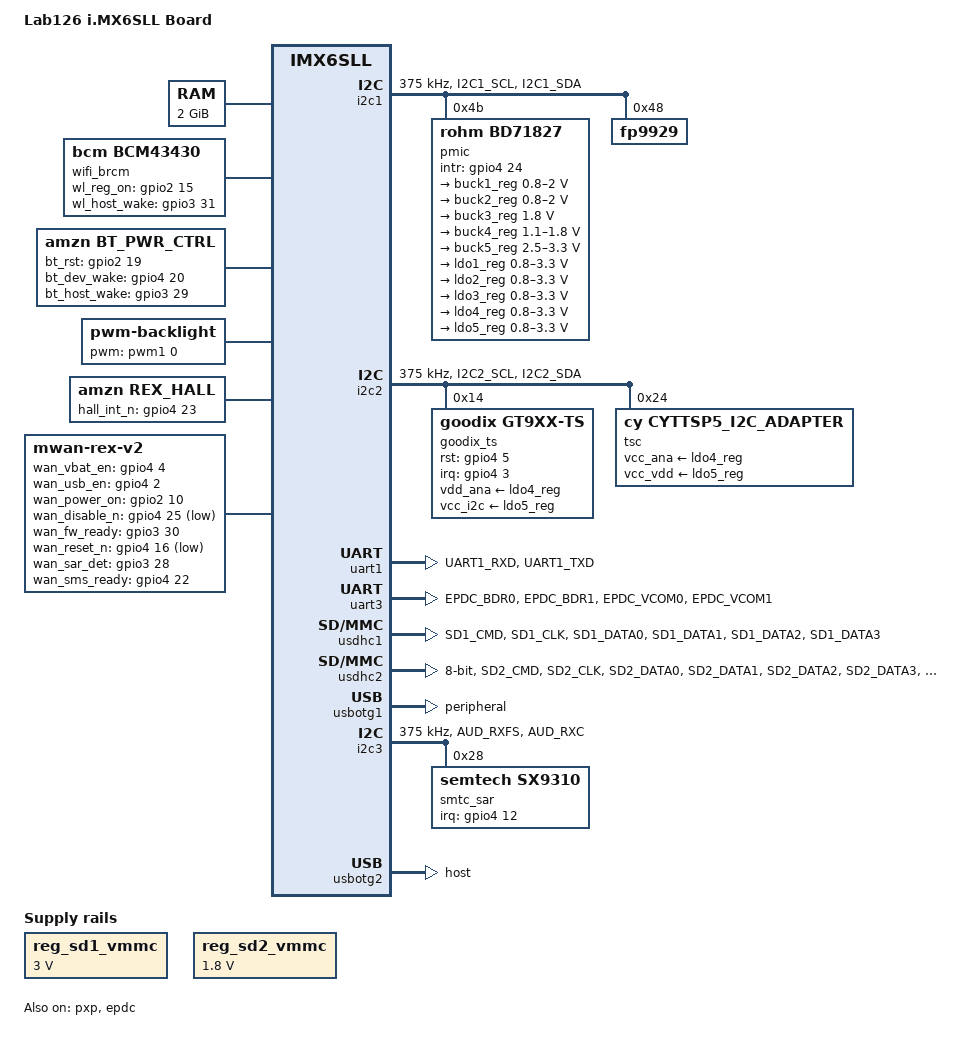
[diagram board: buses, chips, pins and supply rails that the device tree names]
/*
 * Copyright (C) 2016 Freescale Semiconductor, Inc.
 *
 * This program is free software; you can redistribute it and/or modify
 * it under the terms of the GNU General Public License version 2 as
 * published by the Free Software Foundation.
 */

/dts-v1/;

#include <dt-bindings/gpio/gpio.h>
#include <dt-bindings/input/input.h>
#include "imx6sll.dtsi"

/ {
	model = "Lab126 i.MX6SLL Board";
	compatible = "amzn,imx6sll-rex", "fsl,imx6sll";

	memory {
		reg = <0x80000000 0x80000000>;
	};

        wifi_brcm {
                compatible = "bcm,bcm43430";
                wl_reg_on = <&gpio2 15 0>; /* Power on/off GPIO */
                wl_host_wake = <&gpio3 31 0>; /* Host wake for OOB */
        };

        bt_pwr_ctrl {
                compatible = "amzn,bt_pwr_ctrl";
                bt_rst = <&gpio2 19 0>; /* Power on/off GPIO */
                bt_dev_wake = <&gpio4 20 0>; /*BT wake for OOB */
                bt_host_wake = <&gpio3 29 0>; /* Host wake for OOB */
        };

	backlight {
		compatible = "pwm-backlight";
		pwms = <&pwm1 0 5000000>;
		brightness-levels = <0 4 8 16 32 64 128 255>;
		default-brightness-level = <6>;
		status = "okay";
	};

	pxp_v4l2_out {
		compatible = "fsl,imx6sl-pxp-v4l2";
		status = "okay";
	};

	rex_hall {
		compatible = "amzn,rex_hall";
		hall_int_n= <&gpio4 23 0>; /* Use GPIO4-23 as hall input */
		status = "okay";
	};

	regulators {
		compatible = "simple-bus";
		#address-cells = <1>;
		#size-cells = <0>;

		reg_sd1_vmmc: sd1_vmmc {
			compatible = "regulator-fixed";
			regulator-name = "SD1_SPWR";
			regulator-min-microvolt = <3000000>;
			regulator-max-microvolt = <3000000>;
/*Fixme
			gpio = <&gpio3 30 GPIO_ACTIVE_HIGH>;
			enable-active-high;
*/
		};

		reg_sd2_vmmc: sd2_vmmc {
			compatible = "regulator-fixed";
			regulator-name = "eMMC_VCCQ";
			regulator-min-microvolt = <1800000>;
			regulator-max-microvolt = <1800000>;
			regulator-boot-on;
		};
	};

	ramoops_device {
		compatible = "fsl,mxc_ramoops";
		record_size = <524288>; /*512K*/
		console_size= <262144>; /*256K*/
		ftrace_size= <262144>;  /*256K*/
		dump_oops = <1>;
		status = "okay";
	};

	regulator-virtuals {
		compatible = "simple-bus";

		virt-buck1 {
			compatible = "regulator-virtual";
			virtual-supply = "buck1";
		};
		virt-buck2 {
			compatible = "regulator-virtual";
			virtual-supply = "buck2";
		};
		virt-buck3 {
			compatible = "regulator-virtual";
			virtual-supply = "buck3";
		};
		virt-buck4 {
			compatible = "regulator-virtual";
			virtual-supply = "buck4";
		};
		virt-buck5 {
			compatible = "regulator-virtual";
			virtual-supply = "buck5";
		};
		virt-ldo1 {
			compatible = "regulator-virtual";
			virtual-supply = "ldo1";
		};
		virt-ldo2 {
			compatible = "regulator-virtual";
			virtual-supply = "ldo2";
		};
		virt-ldo3 {
			compatible = "regulator-virtual";
			virtual-supply = "ldo3";
		};
		virt-ldo4 {
			compatible = "regulator-virtual";
			virtual-supply = "ldo4";
		};
		virt-ldo5 {
			compatible = "regulator-virtual";
			virtual-supply = "ldo5";
		};
		virt-ldo6 {
			compatible = "regulator-virtual";
			virtual-supply = "ldo6";
		};
		virt-ldosnvs {
			compatible = "regulator-virtual";
			virtual-supply = "ldosnvs";
		};
	};
};


&cpu0 {
	arm-supply = <&buck2_reg>;
	soc-supply = <&buck1_reg>;
};


&i2c1 {
	clock-frequency = <375000>;
	pinctrl-names = "default";
	pinctrl-0 = <&pinctrl_i2c1>;
	status = "okay";

    pmic: bd71827@4b {
        reg = <0x4b>;
        compatible = "rohm,bd71827";
        /* PMIC_INT_B GPIO4_IO24 */
        gpio_intr = <&gpio4 24 0>;

        bd71827,pmic-buck1-uses-i2c-dvs;
        bd71827,pmic-buck1-dvs-voltage = <1100000>, <900000>, <900000>; /* VDD_ARM: Run-Idle-Suspend */
        bd71827,pmic-buck2-uses-i2c-dvs;
        bd71827,pmic-buck2-dvs-voltage = <1100000>, <900000>, <900000>; /* VDD_SOC: Run-Idle-Suspend */

        gpo {
            rohm,drv = <0x0C>;  /* 0b0000_1100 all gpos with cmos output mode */
        };

        regulators {
            #address-cells = <1>;
            #size-cells = <0>;

            buck1_reg: regulator@0 {
                reg = <0>;
                regulator-compatible = "buck1";
                regulator-min-microvolt = <800000>;
                regulator-max-microvolt = <2000000>;
                regulator-boot-on;
                regulator-always-on;
                regulator-ramp-delay = <1250>;
            };

            buck2_reg: regulator@1 {
                reg = <1>;
                regulator-compatible = "buck2";
                regulator-min-microvolt = <800000>;
                regulator-max-microvolt = <2000000>;
                regulator-boot-on;
                regulator-always-on;
                regulator-ramp-delay = <1250>;
            };

            buck3_reg: regulator@2 {
                reg = <2>;
                regulator-compatible = "buck3";
                regulator-min-microvolt = <1800000>;
                regulator-max-microvolt = <1800000>;
                regulator-boot-on;
                regulator-always-on;
            };

            buck4_reg: regulator@3 {
                reg = <3>;
                regulator-compatible = "buck4";
                regulator-min-microvolt = <1100000>;
                regulator-max-microvolt = <1800000>;
                regulator-boot-on;
                regulator-always-on;
            };

            buck5_reg: regulator@4 {
                reg = <4>;
                regulator-compatible = "buck5";
                regulator-min-microvolt = <2500000>;
                regulator-max-microvolt = <3300000>;
                regulator-boot-on;
                regulator-always-on;
            };

            ldo1_reg: regulator@5 {
                reg = <5>;
                regulator-compatible = "ldo1";
                regulator-min-microvolt = <800000>;
                regulator-max-microvolt = <3300000>;
                regulator-boot-on;
                regulator-always-on;
            };

            ldo2_reg: regulator@6 {
                reg = <6>;
                regulator-compatible = "ldo2";
                regulator-min-microvolt = <800000>;
                regulator-max-microvolt = <3300000>;
                regulator-boot-on;
                regulator-always-on;
            };

            ldo3_reg: regulator@7 {
                reg = <7>;
                regulator-compatible = "ldo3";
                regulator-name = "ldo3";
                regulator-min-microvolt = <800000>;
                regulator-max-microvolt = <3300000>;
            };

            ldo4_reg: regulator@8 {
                reg = <8>;
                regulator-compatible = "ldo4";
                regulator-name = "ldo4";
                regulator-min-microvolt = <800000>;
                regulator-max-microvolt = <3300000>;
                regulator-boot-on;
            };

            ldo5_reg: regulator@9 {
                reg = <9>;
                regulator-compatible = "ldo5";
                regulator-name = "ldo5";
                regulator-min-microvolt = <800000>;
                regulator-max-microvolt = <3300000>;
                regulator-boot-on;
            };

            ldo6_reg: regulator@10 {
                reg = <10>;
                regulator-compatible = "ldo6";
                regulator-boot-on;
                regulator-always-on;
            };

            ldosnvs_reg: regulator@11 {
                reg = <11>;
                regulator-compatible = "ldosnvs";
                regulator-boot-on;
                regulator-always-on;
            };
        };
	};

	fp9929@48 {
		compatible = "fp9929";
		reg = <0x48>;
	};
};


&i2c2 {
        clock-frequency = <375000>;
        pinctrl-names = "default";
        pinctrl-0 = <&pinctrl_i2c2>;
        status = "okay";

	goodix_ts@14 {
		compatible = "goodix,gt9xx-ts";
		pinctrl-names = "default", "sleep";
		pinctrl-0 = <&pinctrl_touch_sensor_default>;
		pinctrl-1 = <&pinctrl_touch_sensor_sleep>;
		reg = <0x14>;
		interrupt-parent = <&gpio4>;
		vdd_ana-supply =  <&ldo4_reg>;
		vcc_i2c-supply = <&ldo5_reg>;
		goodix,rst-gpio = <&gpio4 5 0>; /*gpio4-5*/
		goodix,irq-gpio = <&gpio4 3 0>; /*gpio4-3*/
	};

	tsc@24 {
		compatible = "cy,cyttsp5_i2c_adapter";
		pinctrl-names = "default", "sleep";
		pinctrl-0 = <&pinctrl_touch_sensor_default>;
		pinctrl-1 = <&pinctrl_touch_sensor_sleep>;
		reg = <0x24>;

		/* GPIO 38, high-to-low edge triggered */
		#interrupts = <10 IRQ_TYPE_EDGE_FALLING>;
		interrupt-parent = <&gpio4>;
		cy,adapter_id = "cyttsp5_i2c_adapter";
		vcc_ana-supply = <&ldo4_reg>;
		vcc_vdd-supply = <&ldo5_reg>;

		cy,core {
			cy,name = "cyttsp5_core";

			cy,irq_gpio = <99>; /*gpio4-3*/
			cy,rst_gpio = <101>; /*gpio4-5*/
			cy,hid_desc_register = <1>;
			/*CY_CORE_FLAG_RESTORE_PARAMETERS */
			cy,flags = <6>;
			/* CY_CORE_EWG_NONE */
			cy,easy_wakeup_gesture = <0>;

			cy,mt {
				cy,name = "cyttsp5_mt";

				cy,inp_dev_name = "cyttsp5_mt";
				/* CY_MT_FLAG_INV_X | CY_MT_FLAG_INV_Y */
				cy,flags = <0x30>;
				cy,abs =
						/* ABS_MT_POSITION_X, CY_ABS_MIN_X, CY_ABS_MAX_X, 0, 0 */
						<0x35 0 880 0 0
						/* ABS_MT_POSITION_Y, CY_ABS_MIN_Y, CY_ABS_MAX_Y, 0, 0 */
						0x36 0 1280 0 0
						/* ABS_MT_PRESSURE, CY_ABS_MIN_P, CY_ABS_MAX_P, 0, 0 */
						0x3a 0 255 0 0
						/* CY_IGNORE_VALUE, CY_ABS_MIN_W, CY_ABS_MAX_W, 0, 0 */
						0xffff 0 255 0 0
						/* ABS_MT_TRACKING_ID, CY_ABS_MIN_T, CY_ABS_MAX_T, 0, 0 */
						0x39 0 15 0 0
						/* ABS_MT_TOUCH_MAJOR, 0, 255, 0, 0 */
						0x30 0 255 0 0
						/* ABS_MT_TOUCH_MINOR, 0, 255, 0, 0 */
						0x31 0 255 0 0
						/* ABS_MT_ORIENTATION, -127, 127, 0, 0 */
						0x34 0xffffff81 127 0 0
						/* ABS_MT_TOOL_TYPE, 0, MT_TOOL_MAX, 0, 0 */
						0x37 0 1 0 0
						/* ABS_MT_DISTANCE, 0, 255, 0, 0 */
						0x3b 0 255 0 0>;

				cy,vkeys_x = <720>;
				cy,vkeys_y = <1280>;

				cy,virtual_keys = /* KeyCode CenterX CenterY Width Height */
						/* KEY_BACK */
						<158 1360 90 160 180
						/* KEY_MENU */
						139 1360 270 160 180
						/* KEY_HOMEPAGE */
						172 1360 450 160 180
						/* KEY SEARCH */
						217 1360 630 160 180>;
			};
		};
	};
};




&gpc {
	fsl,ldo-bypass = <1>;
};


&iomuxc {
	pinctrl-names = "default";
	pinctrl-0 = <&pinctrl_hog>;
	pinctrl-1 = <&pinctrl_hog_sleep>;

	hog {
		pinctrl_hog: hoggrp {
			fsl,pins = <
				MX6SLL_PAD_WDOG_B__WDOG1_B               0x4128b0
				MX6SLL_PAD_GPIO4_IO23__GPIO4_IO23       0x4100b0 /*Hall Sensor*/
				/*WIFI/BT*/
				MX6SLL_PAD_SD1_DATA6__GPIO5_IO07	0x4100b0 /*WIFI_GPIO_0*/ /*1<<22|1<<16|0<<14|0<<13|1<<12|0<<11|2<<6|6<<3|0 	0x020E0554*/
				MX6SLL_PAD_SD1_DATA7__GPIO5_IO10	0x4100b0 /*BT Device Wake*/ /*1<<22|1<<16|0<<14|0<<13|1<<12|0<<11|2<<6|6<<3|0 	/*0x020E0558*/
				MX6SLL_PAD_KEY_ROW2__GPIO3_IO29		0x4130b0 /*BT HOST WAKE*/
				MX6SLL_PAD_GPIO4_IO20__GPIO4_IO20	0x4130b0 /*BT HOST WAKE*/
				MX6SLL_PAD_KEY_ROW3__GPIO3_IO31		0x4130b0 /*WLAN_on*/

				MX6SLL_PAD_LCD_CLK__GPIO2_IO15		0x4130b0 /*0x4170b0 working */ /*WIFI Reg On*/
				MX6SLL_PAD_LCD_RESET__GPIO2_IO19	0x4130b0 /*not tested yet */ /*BT Reg On*/

				/*BT PCM not test yet. need to set  IOMUXC_AUD4_INPUT_DB_AMX_SELECT_INPUT for mode ALT4*/
				MX6SLL_PAD_LCD_DATA03__AUD4_RXD		0x4100b0 /*not tested yet */ /*BT PCM*/
				MX6SLL_PAD_LCD_DATA04__AUD4_TXC		0x4100b0 /*not tested yet */ /*BT PCM*/
				MX6SLL_PAD_LCD_DATA05__AUD4_TXFS	0x4100b0 /*not tested yet */ /*BT PCM*/
				MX6SLL_PAD_LCD_DATA06__AUD4_TXD		0x4100b0 /*not tested yet */ /*BT PCM*/

				MX6SLL_PAD_KEY_ROW0__GPIO3_IO25		0x4100b0  /*EPD PMIC 0x4110b0  */
				MX6SLL_PAD_EPDC_PWR_COM__GPIO2_IO11  	0x4100b0  /*EPD PMIC ENOP*/
				MX6SLL_PAD_GPIO4_IO24__GPIO4_IO24	0x4100b0 /*PMIC INT line*/

				/* WAN BEGIN */
				MX6SLL_PAD_EPDC_PWR_CTRL3__GPIO2_IO10   0x004100b0 /* G12  OUT WAN_POWER_ON */
				MX6SLL_PAD_KEY_COL2__GPIO3_IO28         0x004100b0 /* E23  OUT WAN_SAR_DET */
				MX6SLL_PAD_KEY_COL3__GPIO3_IO30         0x004130b0 /* E22  IN  WAN_FW_READY */
				MX6SLL_PAD_KEY_ROW4__GPIO4_IO01         0x004130b0 /* E19  IN  WAN-2-SOC_WAKEUP */
				MX6SLL_PAD_KEY_COL5__GPIO4_IO02         0x004100b0 /* D24  OUT WAN_VBUS_EN */
				MX6SLL_PAD_KEY_COL6__GPIO4_IO04         0x004100b0 /* D22  OUT WAN_VBAT_EN */
				MX6SLL_PAD_GPIO4_IO16__GPIO4_IO16       0x004100b0 /* W11  OUT SOC-2-WAN_RESET */
				MX6SLL_PAD_GPIO4_IO22__GPIO4_IO22       0x004130b0 /* AD10 IN  WAN_SMS_READY (OLD:SOC-2-WAN_GPIO) */
				MX6SLL_PAD_GPIO4_IO25__GPIO4_IO25       0x004100b0 /* AC9  OUT SOC-2-WAN_DISABLE_N */
				MX6SLL_PAD_GPIO4_IO26__GPIO4_IO26       0x08410080 /* W10  IN  SOC-2-WAN_WAKEUP HI-Z */
				/* WAN END */

/*The following are NC pins, all set to low power-GPIO-pull down, 0x4130b0, should have been set by u-boot already*/
				MX6SLL_PAD_EPDC_DATA08__GPIO1_IO15  	  	  0x4130b0
				MX6SLL_PAD_EPDC_DATA09__GPIO1_IO16  	  	  0x4130b0
				MX6SLL_PAD_EPDC_DATA10__GPIO1_IO17  	  0x4130b0
				MX6SLL_PAD_EPDC_DATA11__GPIO1_IO18  	  0x4130b0
				MX6SLL_PAD_EPDC_DATA12__GPIO1_IO19  	  0x4130b0
				MX6SLL_PAD_EPDC_DATA13__GPIO1_IO20  	  0x4130b0
				MX6SLL_PAD_EPDC_DATA14__GPIO1_IO21  	  0x4130b0
				MX6SLL_PAD_EPDC_DATA15__GPIO1_IO22  	  0x4130b0
				MX6SLL_PAD_EPDC_SDSHR__GPIO1_IO26  	  0x4130b0
				MX6SLL_PAD_EPDC_SDCE1__GPIO1_IO28  	  0x4130b0
				MX6SLL_PAD_EPDC_GDRL__GPIO2_IO01  	  0x4130b0
				MX6SLL_PAD_EPDC_PWR_CTRL0__GPIO2_IO07  	  0x4130b0
				MX6SLL_PAD_EPDC_PWR_CTRL1__GPIO2_IO08  	  0x4130b0
				MX6SLL_PAD_EPDC_PWR_CTRL2__GPIO2_IO09  	  0x4130b0
				MX6SLL_PAD_EPDC_PWR_IRQ__GPIO2_IO12  	  0x4130b0
				MX6SLL_PAD_EPDC_PWR_STAT__GPIO2_IO13  	  0x4130b0
				MX6SLL_PAD_EPDC_PWR_WAKE__GPIO2_IO14  	  0x4130b0
				MX6SLL_PAD_LCD_ENABLE__GPIO2_IO16  	  0x4130b0
				MX6SLL_PAD_LCD_HSYNC__GPIO2_IO17  	  0x4130b0
				MX6SLL_PAD_LCD_VSYNC__GPIO2_IO18  	  0x4130b0
				MX6SLL_PAD_LCD_DATA00__GPIO2_IO20  	  0x4130b0
				MX6SLL_PAD_LCD_DATA01__GPIO2_IO21 		  0x4130b0
				MX6SLL_PAD_LCD_DATA02__GPIO2_IO22 		  0x4130b0
				MX6SLL_PAD_LCD_DATA07__GPIO2_IO27  	  0x4130b0
				MX6SLL_PAD_LCD_DATA08__GPIO2_IO28  	  0x4130b0
				MX6SLL_PAD_LCD_DATA09__GPIO2_IO29  	  0x4130b0
				MX6SLL_PAD_LCD_DATA10__GPIO2_IO30  	  0x4130b0
				MX6SLL_PAD_LCD_DATA11__GPIO2_IO31  	  0x4130b0
				MX6SLL_PAD_LCD_DATA12__GPIO3_IO00  	  0x4130b0
				MX6SLL_PAD_LCD_DATA13__GPIO3_IO01  	  0x4130b0
				MX6SLL_PAD_LCD_DATA14__GPIO3_IO02  	  0x4130b0
				MX6SLL_PAD_LCD_DATA15__GPIO3_IO03  	  0x4130b0
				MX6SLL_PAD_LCD_DATA16__GPIO3_IO04  	  0x4130b0
				MX6SLL_PAD_LCD_DATA17__GPIO3_IO05  	  0x4130b0
				MX6SLL_PAD_LCD_DATA18__GPIO3_IO06  	  0x4130b0
				MX6SLL_PAD_LCD_DATA19__GPIO3_IO07  	  0x4130b0
				MX6SLL_PAD_LCD_DATA20__GPIO3_IO08  	  0x4130b0
				MX6SLL_PAD_LCD_DATA21__GPIO3_IO09  	  0x4130b0
				MX6SLL_PAD_LCD_DATA22__GPIO3_IO10  	  0x4130b0
				MX6SLL_PAD_LCD_DATA23__GPIO3_IO11  	  0x4130b0
				MX6SLL_PAD_AUD_RXD__GPIO1_IO02  	  	  0x4130b0
				MX6SLL_PAD_AUD_TXFS__GPIO1_IO04  	  0x4130b0
				MX6SLL_PAD_AUD_TXD__GPIO1_IO05  	  	  0x4130b0
				MX6SLL_PAD_AUD_MCLK__GPIO1_IO06  	  0x4130b0
				MX6SLL_PAD_ECSPI2_SCLK__GPIO4_IO12  	  0x4100b0 /* PROX_INT_N */
				MX6SLL_PAD_ECSPI2_MOSI__GPIO4_IO13  	  0x4130b0
				MX6SLL_PAD_ECSPI2_MISO__GPIO4_IO14  	  0x4130b0
				MX6SLL_PAD_ECSPI2_SS0__GPIO4_IO15  	  0x4130b0
				MX6SLL_PAD_GPIO4_IO17__GPIO4_IO17  	  0x4130b0
				MX6SLL_PAD_GPIO4_IO18__GPIO4_IO18  	  0x4130b0
				MX6SLL_PAD_GPIO4_IO19__GPIO4_IO19  	  0x4130b0
				MX6SLL_PAD_GPIO4_IO21__GPIO4_IO21  	  0x4130b0
				MX6SLL_PAD_SD3_CLK__GPIO5_IO18  	  	  0x4130b0
				MX6SLL_PAD_SD3_CMD__GPIO5_IO21  	  	  0x4130b0

				/* Belows workaround ONLY for REX 2 board */
				/* Routing error: AD9, AC11 and AD11 were tied each other */
				/* R9861 and R9864 MUST BE REMOVED */
				MX6SLL_PAD_SD3_DATA0__GPIO5_IO19        0x08410080 /* AC11 HI-Z */
				MX6SLL_PAD_SD3_DATA1__GPIO5_IO20        0x08410080 /* AD11 HI-Z */

				MX6SLL_PAD_SD3_DATA2__GPIO5_IO16  	  0x4130b0
				MX6SLL_PAD_SD3_DATA3__GPIO5_IO17  	  0x4130b0
				MX6SLL_PAD_KEY_ROW1__GPIO3_IO27		  0x4130b0
				MX6SLL_PAD_KEY_ROW7__GPIO4_IO07  	  0x4130b0
				MX6SLL_PAD_KEY_COL7__GPIO4_IO06  	  0x4130b0
				MX6SLL_PAD_PWM1__GPIO3_IO23  	  	  0x4130b0
			/*Fixme	MX6SLL_PAD_HSIC_DAT__GPIO3_IO19  	  0x4130b0
				MX6SLL_PAD_HSIC_STROBE__GPIO3_IO20  	  0x4130b0
			*/
				MX6SLL_PAD_REF_CLK_24M__GPIO3_IO21  	  0x4130b0
				MX6SLL_PAD_REF_CLK_32K__GPIO3_IO22  	  0x4130b0

				MX6SLL_PAD_SD1_DATA4__UART4_DCE_RX	0x1b0b1
				MX6SLL_PAD_SD1_DATA5__UART4_DCE_TX	0x1b0b1
			/*Done for NC pins*/

			>;
		};

		pinctrl_hog_sleep: hoggrp_sleep {
			fsl,pins = <
				MX6SLL_PAD_WDOG_B__WDOG1_B               0x4128b0
				MX6SLL_PAD_GPIO4_IO20__GPIO4_IO20        0x4130b0
				MX6SLL_PAD_GPIO4_IO23__GPIO4_IO23        0x4100b0 /*Hall Sensor*/
				/*uart4*/
				MX6SLL_PAD_SD1_DATA5__GPIO5_IO09        0x4130b0
				MX6SLL_PAD_SD1_DATA4__GPIO5_IO12        0x4130b0

			>;
		};
	};


	uart1 {
		pinctrl_uart1: uart1grp-1 {
			fsl,pins = <
				MX6SLL_PAD_UART1_RXD__UART1_DCE_RX 0x41b0b1
				MX6SLL_PAD_UART1_TXD__UART1_DCE_TX 0x41b0b1
			>;
		};
	};


	uart3 {

                pinctrl_uart3: uart3grp-1 {
                        fsl,pins = <
                                /* pull up */
                                MX6SLL_PAD_EPDC_BDR0__UART3_DCE_RTS     0x41b0b1
                                MX6SLL_PAD_EPDC_BDR1__UART3_DCE_CTS     0x41b0b1
                                MX6SLL_PAD_EPDC_VCOM0__UART3_DCE_RX     0x41b0b1
                                /* pull down */
                                MX6SLL_PAD_EPDC_VCOM1__UART3_DCE_TX     0x4130b1

                        >;
                };


	};


	uart4 {
		pinctrl_uart4_1: uart4grp-1 {
			fsl,pins = <
				MX6SLL_PAD_SD1_DATA4__UART4_DCE_RX	0x1b0b1
				MX6SLL_PAD_SD1_DATA5__UART4_DCE_TX	0x1b0b1
			>;
		};
	};


	epdc {
		pinctrl_epdc0: epdcgrp0 {
			fsl,pins = <
				MX6SLL_PAD_EPDC_DATA00__EPDC_DATA00          0x4110a1 /*1<<22|1<<16|0<<14|0<<13|1<<12|0<<11|2<<6|4<<3|1       0000 0001 0001 0000 1010 0001 */
				MX6SLL_PAD_EPDC_DATA01__EPDC_DATA01          0x4110a1 /*1<<22|1<<16|0<<14|0<<13|1<<12|0<<11|2<<6|4<<3|1       0000 0001 0001 0000 1010 0001 */
				MX6SLL_PAD_EPDC_DATA02__EPDC_DATA02          0x4110a1 /*1<<22|1<<16|0<<14|0<<13|1<<12|0<<11|2<<6|4<<3|1       0000 0001 0001 0000 1010 0001 */
				MX6SLL_PAD_EPDC_DATA03__EPDC_DATA03          0x4110a1 /*1<<22|1<<16|0<<14|0<<13|1<<12|0<<11|2<<6|4<<3|1       0000 0001 0001 0000 1010 0001 */
				MX6SLL_PAD_EPDC_DATA04__EPDC_DATA04          0x4110a1 /*1<<22|1<<16|0<<14|0<<13|1<<12|0<<11|2<<6|4<<3|1       0000 0001 0001 0000 1010 0001 */
				MX6SLL_PAD_EPDC_DATA05__EPDC_DATA05          0x4110a1 /*1<<22|1<<16|0<<14|0<<13|1<<12|0<<11|2<<6|4<<3|1       0000 0001 0001 0000 1010 0001 */
				MX6SLL_PAD_EPDC_DATA06__EPDC_DATA06          0x4110a1 /*1<<22|1<<16|0<<14|0<<13|1<<12|0<<11|2<<6|4<<3|1       0000 0001 0001 0000 1010 0001 */
				MX6SLL_PAD_EPDC_DATA07__EPDC_DATA07          0x4110a1 /*1<<22|1<<16|0<<14|0<<13|1<<12|0<<11|2<<6|4<<3|1       0000 0001 0001 0000 1010 0001 */
				MX6SLL_PAD_EPDC_GDCLK__EPDC_GDCLK            0x4110a0 /*1<<22|1<<16|0<<14|0<<13|1<<12|0<<11|2<<6|4<<3|0       0000 0001 0001 0000 1010 0000 */
				MX6SLL_PAD_EPDC_GDSP__EPDC_GDSP              0x4110a0 /*1<<22|1<<16|0<<14|0<<13|1<<12|0<<11|2<<6|4<<3|0       0000 0001 0001 0000 1010 0000 */
				MX6SLL_PAD_EPDC_GDOE__EPDC_GDOE              0x4110a0 /*1<<22|1<<16|0<<14|0<<13|1<<12|0<<11|2<<6|4<<3|0       0000 0001 0001 0000 1010 0000 */
				MX6SLL_PAD_EPDC_SDCLK__EPDC_SDCLK_P          0x4110a9 /*1<<22|1<<16|0<<14|0<<13|1<<12|0<<11|2<<6|5<<3|1       0000 0001 0001 0000 1010 1001 */
				MX6SLL_PAD_EPDC_SDOE__EPDC_SDOE              0x4110a9 /*1<<22|1<<16|0<<14|0<<13|1<<12|0<<11|2<<6|5<<3|1       0000 0001 0001 0000 1010 1001 */
				MX6SLL_PAD_EPDC_SDLE__EPDC_SDLE              0x4110a1 /*1<<22|1<<16|0<<14|0<<13|1<<12|0<<11|2<<6|4<<3|1       0000 0001 0001 0000 1010 0001 */
				MX6SLL_PAD_EPDC_SDCE0__EPDC_SDCE0            0x4110a0 /*1<<22|1<<16|0<<14|0<<13|1<<12|0<<11|2<<6|4<<3|0       0000 0001 0001 0000 1010 0000 */

/*
				MX6SLL_PAD_EPDC_DATA00__EPDC_DATA00	0x100b1
				MX6SLL_PAD_EPDC_DATA01__EPDC_DATA01	0x100b1
				MX6SLL_PAD_EPDC_DATA02__EPDC_DATA02	0x100b1
				MX6SLL_PAD_EPDC_DATA03__EPDC_DATA03	0x100b1
				MX6SLL_PAD_EPDC_DATA04__EPDC_DATA04	0x100b1
				MX6SLL_PAD_EPDC_DATA05__EPDC_DATA05	0x100b1
				MX6SLL_PAD_EPDC_DATA06__EPDC_DATA06	0x100b1
				MX6SLL_PAD_EPDC_DATA07__EPDC_DATA07	0x100b1
				MX6SLL_PAD_EPDC_DATA08__EPDC_DATA08	0x100b1
				MX6SLL_PAD_EPDC_DATA09__EPDC_DATA09	0x100b1
				MX6SLL_PAD_EPDC_DATA10__EPDC_DATA10	0x100b1
				MX6SLL_PAD_EPDC_DATA11__EPDC_DATA11	0x100b1
				MX6SLL_PAD_EPDC_DATA12__EPDC_DATA12	0x100b1
				MX6SLL_PAD_EPDC_DATA13__EPDC_DATA13	0x100b1
				MX6SLL_PAD_EPDC_DATA14__EPDC_DATA14	0x100b1
				MX6SLL_PAD_EPDC_DATA15__EPDC_DATA15	0x100b1
				MX6SLL_PAD_EPDC_SDCLK__EPDC_SDCLK_P	0x100b1
				MX6SLL_PAD_EPDC_SDLE__EPDC_SDLE		0x100b1
				MX6SLL_PAD_EPDC_SDOE__EPDC_SDOE		0x100b1
				MX6SLL_PAD_EPDC_SDSHR__EPDC_SDSHR	0x100b1
				MX6SLL_PAD_EPDC_SDCE0__EPDC_SDCE0	0x100b1
				MX6SLL_PAD_EPDC_GDCLK__EPDC_GDCLK	0x100b1
				MX6SLL_PAD_EPDC_GDOE__EPDC_GDOE		0x100b1
				MX6SLL_PAD_EPDC_GDRL__EPDC_GDRL		0x100b1
				MX6SLL_PAD_EPDC_GDSP__EPDC_GDSP		0x100b1
*/
                       >;
                };
	};

	touch {
		pinctrl_touch_sensor_default: touch_sensor_default_grp {
			fsl,pins = <
				MX6SLL_PAD_KEY_ROW5__GPIO4_IO03        0x41b0b0 /* TOUCH_INT */
				MX6SLL_PAD_KEY_ROW6__GPIO4_IO05        0x4108b0 /* TOUCH_RST */
				MX6SLL_PAD_KEY_COL0__GPIO3_IO24        0x41b0b0 /* TOUCH_ID1 */
				MX6SLL_PAD_KEY_COL1__GPIO3_IO26        0x41b0b0 /* TOUCH_ID2 */
			>;
		};

		pinctrl_touch_sensor_sleep: touch_sensor_sleep_grp {
			fsl,pins = <
				MX6SLL_PAD_KEY_ROW5__GPIO4_IO03        0x4130b0 /* TOUCH_INT */
				MX6SLL_PAD_KEY_ROW6__GPIO4_IO05        0x4108b0 /* TOUCH_RST */
				MX6SLL_PAD_KEY_COL0__GPIO3_IO24        0x4130b0 /* TOUCH_ID1 */
				MX6SLL_PAD_KEY_COL1__GPIO3_IO26        0x4130b0 /* TOUCH_ID2 */
			>;
		};
	};

	usdhc1 {
		pinctrl_usdhc1: usdhc1grp-1 {
			fsl,pins = <
				MX6SLL_PAD_SD1_CMD__SD1_CMD    0x417069
				MX6SLL_PAD_SD1_CLK__SD1_CLK    0x4100D9 /*0x4000D9*/ /*0x19*/ /*0x41f0b1 1<<22|1<<16|3<<14|1<<13|1<<12|0<<11|2<<6|6<<3|1 	0100 0001 1111 0000 1011 0001 --*/
				MX6SLL_PAD_SD1_DATA0__SD1_DATA0 0x417069
				MX6SLL_PAD_SD1_DATA1__SD1_DATA1 0x417069
				MX6SLL_PAD_SD1_DATA2__SD1_DATA2 0x417069
				MX6SLL_PAD_SD1_DATA3__SD1_DATA3 0x417069
			>;
		};

		pinctrl_usdhc1_100mhz: usdhc1grp-1-100mhz {
			fsl,pins = <
				MX6SLL_PAD_SD1_CMD__SD1_CMD    0x4070a9
				MX6SLL_PAD_SD1_CLK__SD1_CLK    0x4000f9
				MX6SLL_PAD_SD1_DATA0__SD1_DATA0 0x4070a9
				MX6SLL_PAD_SD1_DATA1__SD1_DATA1 0x4070a9
				MX6SLL_PAD_SD1_DATA2__SD1_DATA2 0x4070a9
				MX6SLL_PAD_SD1_DATA3__SD1_DATA3 0x4070a9
			>;
		};

		pinctrl_usdhc1_200mhz: usdhc1grp-1-200mhz {
			fsl,pins = <
				MX6SLL_PAD_SD1_CMD__SD1_CMD    0x4070e9
				MX6SLL_PAD_SD1_CLK__SD1_CLK    0x4000f9
				MX6SLL_PAD_SD1_DATA0__SD1_DATA0 0x4070e9
				MX6SLL_PAD_SD1_DATA1__SD1_DATA1 0x4070e9
				MX6SLL_PAD_SD1_DATA2__SD1_DATA2 0x4070e9
				MX6SLL_PAD_SD1_DATA3__SD1_DATA3 0x4070e9
			>;
		};

	};


	usdhc2 {
		pinctrl_usdhc2: usdhc2grp-1 {
			fsl,pins = <
				MX6SLL_PAD_SD2_CMD__SD2_CMD    0x407059
				MX6SLL_PAD_SD2_CLK__SD2_CLK    0x400059
				MX6SLL_PAD_SD2_DATA0__SD2_DATA0 0x407059
				MX6SLL_PAD_SD2_DATA1__SD2_DATA1 0x407059
				MX6SLL_PAD_SD2_DATA2__SD2_DATA2 0x407059
				MX6SLL_PAD_SD2_DATA3__SD2_DATA3 0x407059
				MX6SLL_PAD_SD2_DATA4__SD2_DATA4 0x407059
				MX6SLL_PAD_SD2_DATA5__SD2_DATA5 0x407059
				MX6SLL_PAD_SD2_DATA6__SD2_DATA6 0x407059
				MX6SLL_PAD_SD2_DATA7__SD2_DATA7 0x407059
				MX6SLL_PAD_SD2_RESET__SD2_RESET  0x407059
			>;
		};

		pinctrl_usdhc2_100mhz: usdhc2grp-1-100mhz {
			fsl,pins = <
				MX6SLL_PAD_SD2_CMD__SD2_CMD    0x4070b9
				MX6SLL_PAD_SD2_CLK__SD2_CLK    0x4000b9
				MX6SLL_PAD_SD2_DATA0__SD2_DATA0 0x4070b9
				MX6SLL_PAD_SD2_DATA1__SD2_DATA1 0x4070b9
				MX6SLL_PAD_SD2_DATA2__SD2_DATA2 0x4070b9
				MX6SLL_PAD_SD2_DATA3__SD2_DATA3 0x4070b9
				MX6SLL_PAD_SD2_DATA4__SD2_DATA4 0x4070b9
				MX6SLL_PAD_SD2_DATA5__SD2_DATA5 0x4070b9
				MX6SLL_PAD_SD2_DATA6__SD2_DATA6 0x4070b9
				MX6SLL_PAD_SD2_DATA7__SD2_DATA7 0x4070b9
				MX6SLL_PAD_SD2_RESET__SD2_RESET  0x4070b9
			>;
		};

		pinctrl_usdhc2_200mhz: usdhc2grp-1-200mhz {
			fsl,pins = <
				MX6SLL_PAD_SD2_CMD__SD2_CMD    0x4070f9
				MX6SLL_PAD_SD2_CLK__SD2_CLK    0x4000f9
				MX6SLL_PAD_SD2_DATA0__SD2_DATA0 0x4070f9
				MX6SLL_PAD_SD2_DATA1__SD2_DATA1 0x4070f9
				MX6SLL_PAD_SD2_DATA2__SD2_DATA2 0x4070f9
				MX6SLL_PAD_SD2_DATA3__SD2_DATA3 0x4070f9
				MX6SLL_PAD_SD2_DATA4__SD2_DATA4 0x4070f9
				MX6SLL_PAD_SD2_DATA5__SD2_DATA5 0x4070f9
				MX6SLL_PAD_SD2_DATA6__SD2_DATA6 0x4070f9
				MX6SLL_PAD_SD2_DATA7__SD2_DATA7 0x4070f9
				MX6SLL_PAD_SD2_RESET__SD2_RESET  0x4070f9
			>;
		};
	};

/*
	pinctrl_usbotg1: usbotg1grp {
		fsl,pins = <
			MX6SLL_PAD_EPDC_PWR_COM__USB_OTG1_ID 0x17059
		>;
	};

*/


	i2c1 {
		pinctrl_i2c1: i2c1grp {
			fsl,pins = <
				MX6SLL_PAD_I2C1_SCL__I2C1_SCL	 0x4041b8b1
				MX6SLL_PAD_I2C1_SDA__I2C1_SDA	 0x4041b8b1
			>;
		};
	};


	i2c2 {
		pinctrl_i2c2: i2c2grp {
			fsl,pins = <
				MX6SLL_PAD_I2C2_SCL__I2C2_SCL	0x404198b1
				MX6SLL_PAD_I2C2_SDA__I2C2_SDA	0x404198b1
			>;
		};
	};


	i2c3 {
		pinctrl_i2c3: i2c3grp {
			fsl,pins = <
				MX6SLL_PAD_AUD_RXFS__I2C3_SCL  0x4041b8b1
				MX6SLL_PAD_AUD_RXC__I2C3_SDA   0x4041b8b1
			>;
		};
	};
};


&pxp {
	status = "okay";
};


&uart1 {
	pinctrl-names = "default";
	pinctrl-0 = <&pinctrl_uart1>;
	status = "okay";
};

&uart3 {
        pinctrl-names = "default";
        pinctrl-0 = <&pinctrl_uart3>;
        fsl,uart-has-rtscts;
        /*fsl,dte-mode;*/
        status = "okay";
};

&usdhc1 {
	pinctrl-names = "default", "state_100mhz", "state_200mhz";
	pinctrl-0 = <&pinctrl_usdhc1>;
	pinctrl-1 = <&pinctrl_usdhc1_100mhz>;
	pinctrl-2 = <&pinctrl_usdhc1_200mhz>;
/*	cd-gpios = <&gpio4 7 GPIO_ACTIVE_LOW>;
	wp-gpios = <&gpio4 22 GPIO_ACTIVE_HIGH>;*/
	keep-power-in-suspend;
/*	enable-sdio-wakeup;*/
	/*vmmc-supply = <&reg_sd1_vmmc>;*/
/*	vqmmc-supply = <&buck3_reg>;*/
	wifi-host; /*add hook for SD card detect mechanism for BCMDHD*/
	status = "okay";
};


&usdhc2 {
	compatible = "fsl,imx6sll-usdhc", "fsl,imx6sx-usdhc";
	pinctrl-names = "default", "state_100mhz", "state_200mhz";
	pinctrl-0 = <&pinctrl_usdhc2>;
	pinctrl-1 = <&pinctrl_usdhc2_100mhz>;
	pinctrl-2 = <&pinctrl_usdhc2_200mhz>;
	vqmmc-supply = <&buck3_reg>;
	bus-width = <8>;
	no-removable;
	status = "okay";
};


&usbotg1 {
/*	pinctrl-names = "default";*/
/*	pinctrl-0 = <&pinctrl_usbotg1>;*/
	dr_mode = "peripheral";
	disable-over-current;
	srp-disable;
	hnp-disable;
	adp-disable;
	status = "okay";
};

&usbphy1 {
	phy-3p0-supply = <&ldo3_reg>;
};


&epdc {
	pinctrl-names = "default";
	pinctrl-0 = <&pinctrl_epdc0>;
/*	V3P3-supply = <&V3P3_reg>;
	VCOM-supply = <&VCOM_reg>;
	DISPLAY-supply = <&DISPLAY_reg>; */
	status = "okay";
};


&wdog1 {
       fsl,wdog_b;
};

&i2c3 {
      clock-frequency = <375000>;
      pinctrl-names = "default";
      pinctrl-0 = <&pinctrl_i2c3>;
      status = "okay";

      smtc_sar@28 {
               compatible = "semtech,sx9310";
               reg = <0x28>;
               interrupt-parent = <&gpio4>;
               interrupts = <12 IRQ_TYPE_EDGE_FALLING>;
               smtc,irq-gpio = <&gpio4 12 0x00>;
      };
};


/***** WAN SKU BEGIN *****/
/ {
	mwan {
		compatible = "mwan-rex-v2";
		wan_vbat_en =      <&gpio4 4  GPIO_ACTIVE_HIGH>;
		wan_usb_en =       <&gpio4 2  GPIO_ACTIVE_HIGH>;
		wan_power_on =     <&gpio2 10 GPIO_ACTIVE_HIGH>;
		wan_disable_n =    <&gpio4 25 GPIO_ACTIVE_LOW>;
		wan_fw_ready =     <&gpio3 30 GPIO_ACTIVE_HIGH>;
		wan_reset_n =      <&gpio4 16 GPIO_ACTIVE_LOW>;
		wan_sar_det =      <&gpio3 28 GPIO_ACTIVE_HIGH>;
		wan_sms_ready =    <&gpio4 22 GPIO_ACTIVE_HIGH>;
		wan_wakeup =       <&gpio4 26 GPIO_ACTIVE_HIGH>;
		soc_wakeup =       <&gpio4 1  GPIO_ACTIVE_HIGH>;
	};
};


&usbotg2 {
	dr_mode = "host";
	disable-over-current;
	status = "okay";
};

&usbphy2 {
	phy-3p0-supply = <&ldo3_reg>;
};

/***** WAN SKU END *****/

